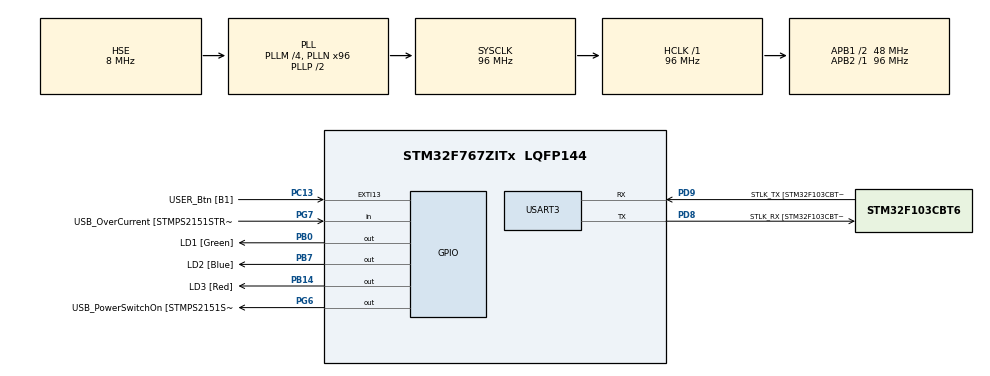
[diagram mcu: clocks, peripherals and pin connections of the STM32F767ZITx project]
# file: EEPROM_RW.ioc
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Mcu.Family=STM32F7
Mcu.Name=STM32F767ZITx
Mcu.Package=LQFP144
NVIC.PriorityGroup=NVIC_PRIORITYGROUP_4
NVIC.USART3_IRQn=true\:0\:0\:false\:false\:true\:true\:true
PA1.GPIO_Label=RMII_REF_CLK [LAN8742A-CZ-TR_REFCLK0]
PA1.Signal=ETH_REF_CLK
PA10.GPIO_Label=USB_ID
PA10.Signal=USB_OTG_FS_ID
PA11.GPIO_Label=USB_DM
PA11.Signal=USB_OTG_FS_DM
PA12.GPIO_Label=USB_DP
PA12.Signal=USB_OTG_FS_DP
PA13.GPIO_Label=TMS
PA13.Mode=Serial_Wire
PA13.Signal=SYS_JTMS-SWDIO
PA14.GPIO_Label=TCK
PA14.Mode=Serial_Wire
PA14.Signal=SYS_JTCK-SWCLK
PA2.GPIO_Label=RMII_MDIO [LAN8742A-CZ-TR_MDIO]
PA2.Signal=ETH_MDIO
PA7.GPIO_Label=RMII_CRS_DV [LAN8742A-CZ-TR_CRS_DV]
PA7.Signal=ETH_CRS_DV
PA8.GPIO_Label=USB_SOF [TP1]
PA8.Signal=USB_OTG_FS_SOF
PA9.GPIO_Label=USB_VBUS
PA9.Signal=USB_OTG_FS_VBUS
PB0.GPIO_Label=LD1 [Green]
PB0.Signal=GPIO_Output
PB13.GPIO_Label=RMII_TXD1 [LAN8742A-CZ-TR_TXD1]
PB13.Signal=ETH_TXD1
PB14.GPIO_Label=LD3 [Red]
PB14.Signal=GPIO_Output
PB3.GPIO_Label=SWO
PB3.Signal=SYS_JTDO-SWO
PB7.GPIO_Label=LD2 [Blue]
PB7.Signal=GPIO_Output
PC1.GPIO_Label=RMII_MDC [LAN8742A-CZ-TR_MDC]
PC1.Signal=ETH_MDC
PC13.GPIO_Label=USER_Btn [B1]
PC13.Signal=GPXTI13
PC14/OSC32_IN.Mode=LSE-External-Oscillator
PC14/OSC32_IN.Signal=RCC_OSC32_IN
PC15/OSC32_OUT.Mode=LSE-External-Oscillator
PC15/OSC32_OUT.Signal=RCC_OSC32_OUT
PC4.GPIO_Label=RMII_RXD0 [LAN8742A-CZ-TR_RXD0]
PC4.Signal=ETH_RXD0
PC5.GPIO_Label=RMII_RXD1 [LAN8742A-CZ-TR_RXD1]
PC5.Signal=ETH_RXD1
PD8.GPIO_Label=STLK_RX [STM32F103CBT6_PA3]
PD8.Mode=Asynchronous
PD8.Signal=USART3_TX
PD9.GPIO_Label=STLK_TX [STM32F103CBT6_PA2]
PD9.Mode=Asynchronous
PD9.Signal=USART3_RX
PG11.GPIO_Label=RMII_TX_EN [LAN8742A-CZ-TR_TXEN]
PG11.Signal=ETH_TX_EN
PG13.GPIO_Label=RMII_TXD0 [LAN8742A-CZ-TR_TXD0]
PG13.Signal=ETH_TXD0
PG6.GPIO_Label=USB_PowerSwitchOn [STMPS2151STR_EN]
PG6.Signal=GPIO_Output
PG7.GPIO_Label=USB_OverCurrent [STMPS2151STR_FAULT]
PG7.Signal=GPIO_Input
PH0/OSC_IN.GPIO_Label=MCO [STM32F103CBT6_PA8]
PH0/OSC_IN.Mode=HSE-External-Clock-Source
PH0/OSC_IN.Signal=RCC_OSC_IN
PH1/OSC_OUT.Mode=HSE-External-Clock-Source
PH1/OSC_OUT.Signal=RCC_OSC_OUT
ProjectManager.HeapSize=0x200
ProjectManager.StackSize=0x400
ProjectManager.TargetToolchain=STM32CubeIDE
RCC.48MHZClocksFreq_Value=24000000
RCC.AHBFreq_Value=96000000
RCC.APB1CLKDivider=RCC_HCLK_DIV2
RCC.APB1Freq_Value=48000000
RCC.APB1TimFreq_Value=96000000
RCC.APB2Freq_Value=96000000
RCC.APB2TimFreq_Value=96000000
RCC.CortexFreq_Value=96000000
RCC.HCLKFreq_Value=96000000
RCC.HSE_VALUE=8000000
RCC.HSI_VALUE=16000000
RCC.PLLM=4
RCC.PLLMUL=RCC_PLL_MUL9
RCC.PLLN=96
RCC.PLLQ=4
RCC.PLLSourceVirtual=RCC_PLLSOURCE_HSE
RCC.PRESCALERUSB=RCC_USBCLKSOURCE_PLL_DIV1_5
RCC.SYSCLKFreq_VALUE=96000000
RCC.SYSCLKSource=RCC_SYSCLKSOURCE_PLLCLK
RCC.SYSCLKSourceVirtual=RCC_SYSCLKSOURCE_PLLCLK
RCC.USBFreq_Value=48000000
RCC.VCOOutputFreq_Value=192000000
USART3.VirtualMode-Asynchronous=VM_ASYNC
VP_RTC_VS_RTC_Activate.Mode=RTC_Enabled
board=NUCLEO-F767ZI

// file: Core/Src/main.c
/* USER CODE BEGIN Header */
/**
 ******************************************************************************
 * @file           : main.c
 * @brief          : Main program body
 ******************************************************************************
 * @attention
 *
 * <h2><center>&copy; Copyright (c) 2021 STMicroelectronics.
 * All rights reserved.</center></h2>
 *
 * This software component is licensed by ST under BSD 3-Clause license,
 * the "License"; You may not use this file except in compliance with the
 * License. You may obtain a copy of the License at:
 *                        opensource.org/licenses/BSD-3-Clause
 *
 ******************************************************************************
 */
/* USER CODE END Header */
#include "main.h"

/* USER CODE BEGIN Includes */
#include <stdio.h>
/* USER CODE END Includes */

RTC_HandleTypeDef hrtc;

UART_HandleTypeDef huart3;

/* USER CODE BEGIN PV */
uint8_t uart_flag = 0;
/* USER CODE END PV */

void SystemClock_Config(void);
static void MX_GPIO_Init(void);
static void MX_USART3_UART_Init(void);
static void MX_RTC_Init(void);

int main(void) {

	/* MCU Configuration--------------------------------------------------------*/

	/* Reset of all peripherals, Initializes the Flash interface and the Systick. */
	HAL_Init();

	/* Configure the system clock */
	SystemClock_Config();

	/* Initialize all configured peripherals */
	MX_GPIO_Init();
	MX_USART3_UART_Init();
	MX_RTC_Init();
	/* USER CODE BEGIN 2 */
	int n_data = 0;
	uint8_t uart_buffer[100];
	uint8_t recv_buffer[10];
	int reg=0;
	int tmp=0;

	if (HAL_GPIO_ReadPin(GPIOC, GPIO_PIN_13)) {
		n_data = snprintf((char*) uart_buffer, 100, "\tRead data operation\n");
		HAL_UART_Transmit(&huart3, uart_buffer, n_data, 100);
		n_data = snprintf((char*) uart_buffer, 100,
				"- Input the register to read (0-9):\n");
		HAL_UART_Transmit(&huart3, uart_buffer, n_data, 100);
		HAL_UART_Receive_IT(&huart3, recv_buffer, 1);
		while (!uart_flag)
			;
		uart_flag = 0;
		n_data = snprintf((char*) uart_buffer, 100, "Data: %lu\n",
				(unsigned long) HAL_RTCEx_BKUPRead(&hrtc,
						((uint8_t) recv_buffer[0] - 48)));
		HAL_UART_Transmit(&huart3, uart_buffer, n_data, 100);
	} else {
		n_data = snprintf((char*) uart_buffer, 100, "\tWrite data operation\n");
		HAL_UART_Transmit(&huart3, uart_buffer, n_data, 100);
		n_data = snprintf((char*) uart_buffer, 100,
				"- Input the register to write (0-9):\n");
		HAL_UART_Transmit(&huart3, uart_buffer, n_data, 100);
		HAL_UART_Receive_IT(&huart3, recv_buffer, 1);
		while (!uart_flag)
			;
		uart_flag = 0;
		reg=((uint8_t) recv_buffer[0] - 48);
		n_data = snprintf((char*) uart_buffer, 100, "Input a number of 3 digits to write into the register: \n");
		HAL_UART_Transmit(&huart3, uart_buffer, n_data, 100);
		HAL_UART_Receive_IT(&huart3, recv_buffer, 3);
		while (!uart_flag)
			;
		uart_flag = 0;
		tmp=(((uint8_t)recv_buffer[0]-48)*100)+(((uint8_t)recv_buffer[1]-48)*10)+((uint8_t)recv_buffer[2]-48);
		HAL_RTCEx_BKUPWrite(&hrtc, reg, tmp);
		n_data = snprintf((char*) uart_buffer, 100, "- %i was wrote into %i register.\n",tmp,reg);
		HAL_UART_Transmit(&huart3, uart_buffer, n_data, 100);

	}
	/* USER CODE END 2 */

	/* Infinite loop */
	while (1) {

	}
}

void SystemClock_Config(void) {
	RCC_OscInitTypeDef RCC_OscInitStruct = { 0 };
	RCC_ClkInitTypeDef RCC_ClkInitStruct = { 0 };
	RCC_PeriphCLKInitTypeDef PeriphClkInitStruct = { 0 };

	/** Configure LSE Drive Capability
	 */
	HAL_PWR_EnableBkUpAccess();
	/** Configure the main internal regulator output voltage
	 */
	__HAL_RCC_PWR_CLK_ENABLE();
	__HAL_PWR_VOLTAGESCALING_CONFIG(PWR_REGULATOR_VOLTAGE_SCALE3);
	/** Initializes the RCC Oscillators according to the specified parameters
	 * in the RCC_OscInitTypeDef structure.
	 */
	RCC_OscInitStruct.OscillatorType = RCC_OSCILLATORTYPE_LSI
			| RCC_OSCILLATORTYPE_HSE;
	RCC_OscInitStruct.HSEState = RCC_HSE_BYPASS;
	RCC_OscInitStruct.LSIState = RCC_LSI_ON;
	RCC_OscInitStruct.PLL.PLLState = RCC_PLL_ON;
	RCC_OscInitStruct.PLL.PLLSource = RCC_PLLSOURCE_HSE;
	RCC_OscInitStruct.PLL.PLLM = 4;
	RCC_OscInitStruct.PLL.PLLN = 96;
	RCC_OscInitStruct.PLL.PLLP = RCC_PLLP_DIV2;
	RCC_OscInitStruct.PLL.PLLQ = 4;
	RCC_OscInitStruct.PLL.PLLR = 2;
	if (HAL_RCC_OscConfig(&RCC_OscInitStruct) != HAL_OK) {
		Error_Handler();
	}
	/** Activate the Over-Drive mode
	 */
	if (HAL_PWREx_EnableOverDrive() != HAL_OK) {
		Error_Handler();
	}
	/** Initializes the CPU, AHB and APB buses clocks
	 */
	RCC_ClkInitStruct.ClockType = RCC_CLOCKTYPE_HCLK | RCC_CLOCKTYPE_SYSCLK
			| RCC_CLOCKTYPE_PCLK1 | RCC_CLOCKTYPE_PCLK2;
	RCC_ClkInitStruct.SYSCLKSource = RCC_SYSCLKSOURCE_PLLCLK;
	RCC_ClkInitStruct.AHBCLKDivider = RCC_SYSCLK_DIV1;
	RCC_ClkInitStruct.APB1CLKDivider = RCC_HCLK_DIV2;
	RCC_ClkInitStruct.APB2CLKDivider = RCC_HCLK_DIV1;

	if (HAL_RCC_ClockConfig(&RCC_ClkInitStruct, FLASH_LATENCY_3) != HAL_OK) {
		Error_Handler();
	}
	PeriphClkInitStruct.PeriphClockSelection = RCC_PERIPHCLK_RTC
			| RCC_PERIPHCLK_USART3;
	PeriphClkInitStruct.RTCClockSelection = RCC_RTCCLKSOURCE_LSI;
	PeriphClkInitStruct.Usart3ClockSelection = RCC_USART3CLKSOURCE_PCLK1;
	if (HAL_RCCEx_PeriphCLKConfig(&PeriphClkInitStruct) != HAL_OK) {
		Error_Handler();
	}
}

static void MX_RTC_Init(void) {

	/** Initialize RTC Only
	 */
	hrtc.Instance = RTC;
	hrtc.Init.HourFormat = RTC_HOURFORMAT_24;
	hrtc.Init.AsynchPrediv = 127;
	hrtc.Init.SynchPrediv = 255;
	hrtc.Init.OutPut = RTC_OUTPUT_DISABLE;
	hrtc.Init.OutPutPolarity = RTC_OUTPUT_POLARITY_HIGH;
	hrtc.Init.OutPutType = RTC_OUTPUT_TYPE_OPENDRAIN;
	if (HAL_RTC_Init(&hrtc) != HAL_OK) {
		Error_Handler();
	}

}

static void MX_USART3_UART_Init(void) {

	huart3.Instance = USART3;
	huart3.Init.BaudRate = 115200;
	huart3.Init.WordLength = UART_WORDLENGTH_8B;
	huart3.Init.StopBits = UART_STOPBITS_1;
	huart3.Init.Parity = UART_PARITY_NONE;
	huart3.Init.Mode = UART_MODE_TX_RX;
	huart3.Init.HwFlowCtl = UART_HWCONTROL_NONE;
	huart3.Init.OverSampling = UART_OVERSAMPLING_16;
	huart3.Init.OneBitSampling = UART_ONE_BIT_SAMPLE_DISABLE;
	huart3.AdvancedInit.AdvFeatureInit = UART_ADVFEATURE_NO_INIT;
	if (HAL_UART_Init(&huart3) != HAL_OK) {
		Error_Handler();
	}

}

static void MX_GPIO_Init(void) {
	GPIO_InitTypeDef GPIO_InitStruct = { 0 };

	/* GPIO Ports Clock Enable */
	__HAL_RCC_GPIOC_CLK_ENABLE();
	__HAL_RCC_GPIOH_CLK_ENABLE();
	__HAL_RCC_GPIOA_CLK_ENABLE();
	__HAL_RCC_GPIOB_CLK_ENABLE();
	__HAL_RCC_GPIOD_CLK_ENABLE();
	__HAL_RCC_GPIOG_CLK_ENABLE();

	/*Configure GPIO pin Output Level */
	HAL_GPIO_WritePin(GPIOB, LD1_Pin | LD3_Pin | LD2_Pin, GPIO_PIN_RESET);

	/*Configure GPIO pin Output Level */
	HAL_GPIO_WritePin(USB_PowerSwitchOn_GPIO_Port, USB_PowerSwitchOn_Pin,
			GPIO_PIN_RESET);

	/*Configure GPIO pin : USER_Btn_Pin */
	GPIO_InitStruct.Pin = USER_Btn_Pin;
	GPIO_InitStruct.Mode = GPIO_MODE_IT_RISING;
	GPIO_InitStruct.Pull = GPIO_NOPULL;
	HAL_GPIO_Init(USER_Btn_GPIO_Port, &GPIO_InitStruct);

	/*Configure GPIO pins : RMII_MDC_Pin RMII_RXD0_Pin RMII_RXD1_Pin */
	GPIO_InitStruct.Pin = RMII_MDC_Pin | RMII_RXD0_Pin | RMII_RXD1_Pin;
	GPIO_InitStruct.Mode = GPIO_MODE_AF_PP;
	GPIO_InitStruct.Pull = GPIO_NOPULL;
	GPIO_InitStruct.Speed = GPIO_SPEED_FREQ_VERY_HIGH;
	GPIO_InitStruct.Alternate = GPIO_AF11_ETH;
	HAL_GPIO_Init(GPIOC, &GPIO_InitStruct);

	/*Configure GPIO pins : RMII_REF_CLK_Pin RMII_MDIO_Pin RMII_CRS_DV_Pin */
	GPIO_InitStruct.Pin = RMII_REF_CLK_Pin | RMII_MDIO_Pin | RMII_CRS_DV_Pin;
	GPIO_InitStruct.Mode = GPIO_MODE_AF_PP;
	GPIO_InitStruct.Pull = GPIO_NOPULL;
	GPIO_InitStruct.Speed = GPIO_SPEED_FREQ_VERY_HIGH;
	GPIO_InitStruct.Alternate = GPIO_AF11_ETH;
	HAL_GPIO_Init(GPIOA, &GPIO_InitStruct);

	/*Configure GPIO pins : LD1_Pin LD3_Pin LD2_Pin */
	GPIO_InitStruct.Pin = LD1_Pin | LD3_Pin | LD2_Pin;
	GPIO_InitStruct.Mode = GPIO_MODE_OUTPUT_PP;
	GPIO_InitStruct.Pull = GPIO_NOPULL;
	GPIO_InitStruct.Speed = GPIO_SPEED_FREQ_LOW;
	HAL_GPIO_Init(GPIOB, &GPIO_InitStruct);

	/*Configure GPIO pin : RMII_TXD1_Pin */
	GPIO_InitStruct.Pin = RMII_TXD1_Pin;
	GPIO_InitStruct.Mode = GPIO_MODE_AF_PP;
	GPIO_InitStruct.Pull = GPIO_NOPULL;
	GPIO_InitStruct.Speed = GPIO_SPEED_FREQ_VERY_HIGH;
	GPIO_InitStruct.Alternate = GPIO_AF11_ETH;
	HAL_GPIO_Init(RMII_TXD1_GPIO_Port, &GPIO_InitStruct);

	/*Configure GPIO pin : USB_PowerSwitchOn_Pin */
	GPIO_InitStruct.Pin = USB_PowerSwitchOn_Pin;
	GPIO_InitStruct.Mode = GPIO_MODE_OUTPUT_PP;
	GPIO_InitStruct.Pull = GPIO_NOPULL;
	GPIO_InitStruct.Speed = GPIO_SPEED_FREQ_LOW;
	HAL_GPIO_Init(USB_PowerSwitchOn_GPIO_Port, &GPIO_InitStruct);

	/*Configure GPIO pin : USB_OverCurrent_Pin */
	GPIO_InitStruct.Pin = USB_OverCurrent_Pin;
	GPIO_InitStruct.Mode = GPIO_MODE_INPUT;
	GPIO_InitStruct.Pull = GPIO_NOPULL;
	HAL_GPIO_Init(USB_OverCurrent_GPIO_Port, &GPIO_InitStruct);

	/*Configure GPIO pins : USB_SOF_Pin USB_ID_Pin USB_DM_Pin USB_DP_Pin */
	GPIO_InitStruct.Pin = USB_SOF_Pin | USB_ID_Pin | USB_DM_Pin | USB_DP_Pin;
	GPIO_InitStruct.Mode = GPIO_MODE_AF_PP;
	GPIO_InitStruct.Pull = GPIO_NOPULL;
	GPIO_InitStruct.Speed = GPIO_SPEED_FREQ_VERY_HIGH;
	GPIO_InitStruct.Alternate = GPIO_AF10_OTG_FS;
	HAL_GPIO_Init(GPIOA, &GPIO_InitStruct);

	/*Configure GPIO pin : USB_VBUS_Pin */
	GPIO_InitStruct.Pin = USB_VBUS_Pin;
	GPIO_InitStruct.Mode = GPIO_MODE_INPUT;
	GPIO_InitStruct.Pull = GPIO_NOPULL;
	HAL_GPIO_Init(USB_VBUS_GPIO_Port, &GPIO_InitStruct);

	/*Configure GPIO pins : RMII_TX_EN_Pin RMII_TXD0_Pin */
	GPIO_InitStruct.Pin = RMII_TX_EN_Pin | RMII_TXD0_Pin;
	GPIO_InitStruct.Mode = GPIO_MODE_AF_PP;
	GPIO_InitStruct.Pull = GPIO_NOPULL;
	GPIO_InitStruct.Speed = GPIO_SPEED_FREQ_VERY_HIGH;
	GPIO_InitStruct.Alternate = GPIO_AF11_ETH;
	HAL_GPIO_Init(GPIOG, &GPIO_InitStruct);

}

/* USER CODE BEGIN 4 */
void HAL_UART_RxCpltCallback(UART_HandleTypeDef *huart) {
	uart_flag = 1;
}

/* USER CODE END 4 */

void Error_Handler(void) {
	__disable_irq();
	while (1) {
	}
}

/************************ (C) COPYRIGHT STMicroelectronics *****END OF FILE****/
